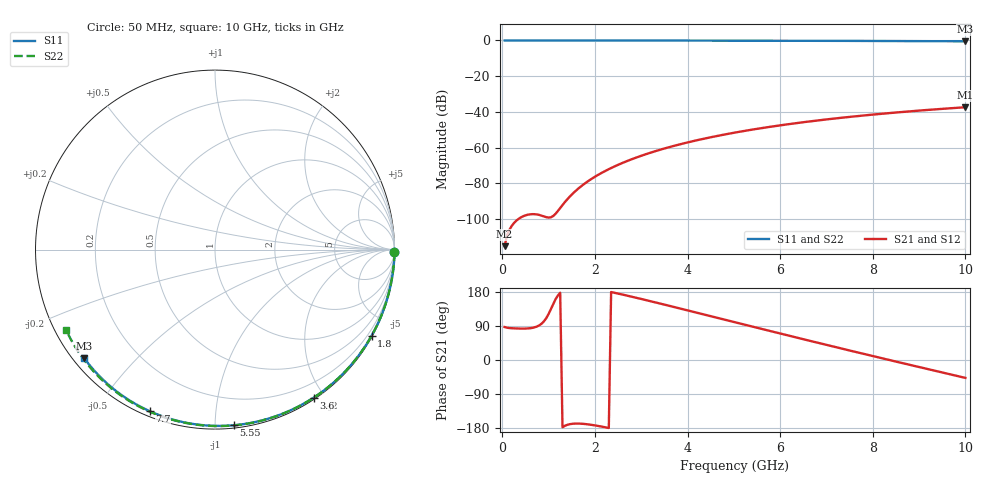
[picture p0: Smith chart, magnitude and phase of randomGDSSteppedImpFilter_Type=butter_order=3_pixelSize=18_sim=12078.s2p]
! freq	dB(S11)	phase(S11)	dB(S12)	phase(S12)
!  dB(S21)	phase(S21)	dB(S22)	phase(S22)
!S-par simulation data
#  GHz  S  DB  R 50
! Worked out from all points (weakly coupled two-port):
!   200 points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, 50 MHz to 10 GHz, reference 50 ohm
!   highest |S21| = -37.36 dB at 10 GHz (marker M1); lowest = -115.1 dB at 50 MHz (marker M2)
!   lowest |S11| = -0.5 dB at 10 GHz (marker M3), VSWR 36.70, Z = 1.54 - j18 ohm
!   |S11| at or under -10 dB: nowhere
!   |S22| runs from -0.5 to 0.0 dB; largest |S21 - S12| = 0
!   S11 on the Smith chart (normalised r, x): 50 MHz: open; 1.8 GHz: 0.03, -3.89; 3.6 GHz: 0.02, -1.87; 5.55 GHz: 0.02, -1.11; 7.7 GHz: 0.02, -0.67; 10 GHz: 0.03, -0.36
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0.05  -0.00 -0.8  -115.06 87.0  -115.06 87.0  -0.00 -0.9
0.45  -0.01 -7.3  -98.34 82.8  -98.34 82.8  -0.01 -7.9
0.9  -0.02 -14.6  -98.42 102.2  -98.42 102.2  -0.02 -15.7
1.3  -0.03 -20.9  -92.04 -177.4  -92.04 -177.4  -0.03 -22.6
1.75  -0.04 -28.0  -80.61 -168.5  -80.61 -168.5  -0.04 -30.3
1.8  -0.04 -28.8  -79.66 -169.1  -79.66 -169.1  -0.04 -31.1
1.95  -0.04 -31.2  -77.04 -171.5  -77.04 -171.5  -0.04 -33.6
2.1  -0.04 -33.5  -74.72 -174.7  -74.72 -174.7  -0.05 -36.2
2.3  -0.05 -36.6  -71.98 -179.5  -71.98 -179.5  -0.05 -39.5
2.5  -0.05 -39.7  -69.56 175.3  -69.56 175.3  -0.06 -42.8
2.9  -0.06 -45.8  -65.42 164.0  -65.42 164.0  -0.06 -49.4
3.4  -0.07 -53.3  -61.18 149.2  -61.18 149.2  -0.08 -57.5
3.6  -0.08 -56.3  -59.70 143.2  -59.70 143.2  -0.08 -60.6
4.3  -0.09 -66.5  -55.25 121.8  -55.25 121.8  -0.10 -71.5
5.05  -0.12 -77.0  -51.40 98.8  -51.40 98.8  -0.13 -82.9
5.55  -0.14 -83.9  -49.23 83.6  -49.23 83.6  -0.15 -90.2
6.1  -0.16 -91.3  -47.12 66.9  -47.12 66.9  -0.17 -98.2
6.7  -0.19 -99.2  -45.09 48.8  -45.09 48.8  -0.21 -106.6
7.7  -0.26 -112.0  -42.22 19.2  -42.22 19.2  -0.28 -120.4
8.35  -0.31 -120.1  -40.64 0.2  -40.64 0.2  -0.33 -129.3
9.2  -0.39 -130.6  -38.83 -24.3  -38.83 -24.3  -0.42 -140.8
10  -0.47 -140.4  -37.36 -47.2  -37.36 -47.2  -0.51 -151.7
